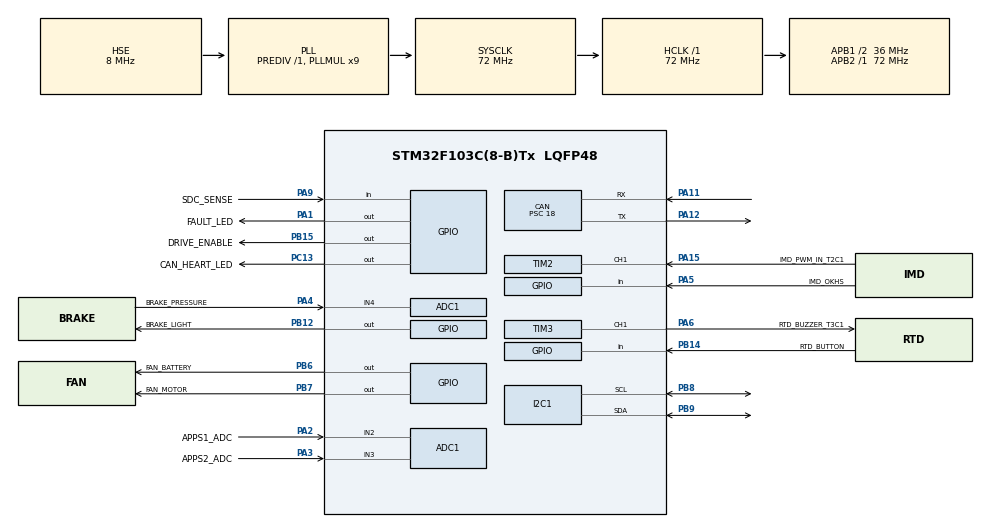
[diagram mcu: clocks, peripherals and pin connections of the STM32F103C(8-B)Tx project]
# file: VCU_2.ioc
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ADC1.Channel-0\#ChannelRegularConversion=ADC_CHANNEL_2
ADC1.Channel-1\#ChannelRegularConversion=ADC_CHANNEL_3
ADC1.Channel-2\#ChannelRegularConversion=ADC_CHANNEL_4
ADC1.ContinuousConvMode=ENABLE
ADC1.NbrOfConversion=3
ADC1.NbrOfConversionFlag=1
ADC1.Rank-0\#ChannelRegularConversion=1
ADC1.Rank-1\#ChannelRegularConversion=2
ADC1.Rank-2\#ChannelRegularConversion=3
ADC1.SamplingTime-0\#ChannelRegularConversion=ADC_SAMPLETIME_55CYCLES_5
ADC1.SamplingTime-1\#ChannelRegularConversion=ADC_SAMPLETIME_55CYCLES_5
ADC1.SamplingTime-2\#ChannelRegularConversion=ADC_SAMPLETIME_55CYCLES_5
ADC1.master=1
CAN.BS1=CAN_BS1_2TQ
CAN.CalculateBaudRate=500000
CAN.CalculateTimeBit=2000
CAN.CalculateTimeQuantum=500.0
CAN.Prescaler=18
CAN.SJW=CAN_SJW_1TQ
Dma.ADC1.1.Direction=DMA_PERIPH_TO_MEMORY
Dma.ADC1.1.Instance=DMA1_Channel1
Dma.ADC1.1.MemDataAlignment=DMA_MDATAALIGN_HALFWORD
Dma.ADC1.1.MemInc=DMA_MINC_ENABLE
Dma.ADC1.1.Mode=DMA_CIRCULAR
Dma.ADC1.1.PeriphDataAlignment=DMA_PDATAALIGN_HALFWORD
Dma.ADC1.1.PeriphInc=DMA_PINC_DISABLE
Dma.ADC1.1.Priority=DMA_PRIORITY_LOW
Dma.I2C1_RX.0.Direction=DMA_PERIPH_TO_MEMORY
Dma.I2C1_RX.0.Instance=DMA1_Channel7
Dma.I2C1_RX.0.MemDataAlignment=DMA_MDATAALIGN_BYTE
Dma.I2C1_RX.0.MemInc=DMA_MINC_ENABLE
Dma.I2C1_RX.0.Mode=DMA_NORMAL
Dma.I2C1_RX.0.PeriphDataAlignment=DMA_PDATAALIGN_BYTE
Dma.I2C1_RX.0.PeriphInc=DMA_PINC_DISABLE
Dma.I2C1_RX.0.Priority=DMA_PRIORITY_MEDIUM
Dma.Request0=I2C1_RX
Dma.Request1=ADC1
I2C1.I2C_Mode=I2C_Fast
Mcu.Family=STM32F1
Mcu.Name=STM32F103C(8-B)Tx
Mcu.Package=LQFP48
NVIC.DMA1_Channel1_IRQn=true\:4\:0\:true\:false\:true\:false\:true\:true
NVIC.DMA1_Channel7_IRQn=true\:5\:0\:true\:false\:true\:false\:true\:true
NVIC.I2C1_ER_IRQn=true\:0\:0\:false\:false\:true\:true\:true\:true
NVIC.I2C1_EV_IRQn=true\:0\:0\:false\:false\:true\:true\:true\:true
NVIC.PriorityGroup=NVIC_PRIORITYGROUP_4
NVIC.TIM1_UP_IRQn=true\:15\:0\:false\:false\:true\:false\:true\:true
NVIC.TIM2_IRQn=true\:6\:0\:true\:false\:true\:true\:true\:true
NVIC.TimeBase=TIM1_UP_IRQn
NVIC.TimeBaseIP=TIM1
NVIC.USB_LP_CAN1_RX0_IRQn=true\:5\:0\:true\:false\:true\:true\:true\:true
PA1.GPIO_Label=FAULT_LED
PA1.Signal=GPIO_Output
PA11.GPIO_PuPd=GPIO_PULLUP
PA11.Mode=CAN_Activate
PA11.Signal=CAN_RX
PA12.Mode=CAN_Activate
PA12.Signal=CAN_TX
PA13.Mode=Serial_Wire
PA13.Signal=SYS_JTMS-SWDIO
PA14.Mode=Serial_Wire
PA14.Signal=SYS_JTCK-SWCLK
PA15.GPIO_Label=IMD_PWM_IN_T2C1
PA15.GPIO_PuPd=GPIO_PULLDOWN
PA15.Signal=S_TIM2_CH1_ETR
PA2.GPIO_Label=APPS1_ADC
PA2.Signal=ADCx_IN2
PA3.GPIO_Label=APPS2_ADC
PA3.Signal=ADCx_IN3
PA4.GPIO_Label=BRAKE_PRESSURE
PA4.Signal=ADCx_IN4
PA5.GPIO_Label=IMD_OKHS
PA5.Signal=GPIO_Input
PA6.GPIO_Label=RTD_BUZZER_T3C1
PA6.Signal=S_TIM3_CH1
PA9.GPIO_Label=SDC_SENSE
PA9.GPIO_PuPd=GPIO_PULLDOWN
PA9.Signal=GPIO_Input
PB12.GPIO_Label=BRAKE_LIGHT
PB12.Signal=GPIO_Output
PB14.GPIO_Label=RTD_BUTTON
PB14.GPIO_PuPd=GPIO_PULLDOWN
PB14.Signal=GPIO_Input
PB15.GPIO_Label=DRIVE_ENABLE
PB15.Signal=GPIO_Output
PB6.GPIO_Label=FAN_BATTERY
PB6.Signal=GPIO_Output
PB7.GPIO_Label=FAN_MOTOR
PB7.Signal=GPIO_Output
PB8.Mode=I2C
PB8.Signal=I2C1_SCL
PB9.Mode=I2C
PB9.Signal=I2C1_SDA
PC13-TAMPER-RTC.GPIO_Label=CAN_HEART_LED
PC13-TAMPER-RTC.Signal=GPIO_Output
PD0-OSC_IN.Mode=HSE-External-Oscillator
PD0-OSC_IN.Signal=RCC_OSC_IN
PD1-OSC_OUT.Mode=HSE-External-Oscillator
PD1-OSC_OUT.Signal=RCC_OSC_OUT
ProjectManager.HeapSize=0x200
ProjectManager.StackSize=0x400
ProjectManager.TargetToolchain=STM32CubeIDE
RCC.ADCPresc=RCC_ADCPCLK2_DIV8
RCC.AHBFreq_Value=72000000
RCC.APB1CLKDivider=RCC_HCLK_DIV2
RCC.APB1Freq_Value=36000000
RCC.APB1TimFreq_Value=72000000
RCC.APB2Freq_Value=72000000
RCC.APB2TimFreq_Value=72000000
RCC.HCLKFreq_Value=72000000
RCC.PLLMUL=RCC_PLL_MUL9
RCC.PLLSourceVirtual=RCC_PLLSOURCE_HSE
RCC.SYSCLKFreq_VALUE=72000000
RCC.SYSCLKSource=RCC_SYSCLKSOURCE_PLLCLK
RCC.USBFreq_Value=72000000
SH.ADCx_IN2.0=ADC1_IN2,IN2
SH.ADCx_IN3.0=ADC1_IN3,IN3
SH.ADCx_IN4.0=ADC1_IN4,IN4
SH.S_TIM2_CH1_ETR.0=TIM2_CH1,TriggerSource_TI1FP1
SH.S_TIM2_CH1_ETR.1=TIM2_CH1,Input_Capture1_from_TI1
SH.S_TIM3_CH1.0=TIM3_CH1,PWM Generation1 CH1
TIM2.Channel-Input_Capture1_from_TI1=TIM_CHANNEL_1
TIM2.Channel-Input_Capture2_from_TI1_63=TIM_CHANNEL_2
TIM2.ICFilter_CH1=8
TIM2.ICPolarity_CH2=TIM_INPUTCHANNELPOLARITY_FALLING
TIM2.Prescaler=143
TIM3.AutoReloadPreload=TIM_AUTORELOAD_PRELOAD_ENABLE
TIM3.Channel-PWM\ Generation1\ CH1=TIM_CHANNEL_1
TIM3.Period=999
TIM3.Prescaler=71
VP_SYS_VS_tim1.Mode=TIM1
VP_TIM2_VS_ClockSourceINT.Mode=Internal
VP_TIM2_VS_ControllerModeReset.Mode=Reset Mode
VP_TIM2_VS_indirect_ch1.Mode=Input_Capture2_from_TI1_63
VP_TIM3_VS_ClockSourceINT.Mode=Internal
board=custom

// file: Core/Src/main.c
/* USER CODE BEGIN Header */
/**
  ******************************************************************************
  * @file           : main.c
  * @brief          : Master file – STM32CubeIDE managed.
  *                   FSUK VCU – FreeRTOS task creation, peripheral init, ISRs.
  *
  *  This file is intentionally minimal. All task implementations live in:
  *    can_dti.c      – DTI HV500 CAN decoder task.
  *    imd_monitor.c  – Bender IMD PWM monitor task.
  *    vcu_safety.c   – APPS safety, brake light, and R2D supervisor tasks.
  *
  *  DO NOT move peripheral init (MX_*) functions out of this file.
  *  STM32CubeIDE re-generates them on every .ioc save; they must stay here.
  ******************************************************************************
  */
/* USER CODE END Header */
#include "main.h"

/* USER CODE BEGIN Includes */
#include "FreeRTOS.h"
#include "task.h"
#include "queue.h"

#include "can_dti.h"      /* CAN_Msg_t, DtiData_t, vCanDecodeTask()          */
#include "imd_monitor.h"  /* ImdDebugStatus_t, IsrBuffer_t, StartPwmTask()   */
#include "vcu_safety.h"   /* VcuSensorData_t, vBrakeLightTask(), vR2DLogicTask() */
/* USER CODE END Includes */

/* USER CODE BEGIN PTD */
/* All typedefs moved to their respective module headers.                     */
/* USER CODE END PTD */

/* USER CODE BEGIN PD */
/* All safety #defines moved to vcu_safety.h.                                */
/* USER CODE END PD */

ADC_HandleTypeDef hadc1;
DMA_HandleTypeDef hdma_adc1;

CAN_HandleTypeDef hcan;

I2C_HandleTypeDef hi2c1;
DMA_HandleTypeDef hdma_i2c1_rx;

TIM_HandleTypeDef htim2;
TIM_HandleTypeDef htim3;

/* USER CODE BEGIN PV */

/* ============================================================================
 * FREERTOS HANDLES
 * All handles declared here (single owner). Modules access them via extern.
 * ========================================================================= */
QueueHandle_t xCanRxQueue     = NULL;  /**< CAN RX FIFO queue (depth 10).    */
TaskHandle_t  xCanTaskHandle  = NULL;  /**< vCanDecodeTask handle.            */
TaskHandle_t  xPwmTaskHandle  = NULL;  /**< StartPwmTask handle (IMD notify). */
TaskHandle_t  xBrakeTaskHandle= NULL;  /**< vBrakeLightTask (I2C DMA notify). */
TaskHandle_t  xR2DTaskHandle  = NULL;  /**< vR2DLogicTask handle.             */

/* ============================================================================
 * ADC DMA BUFFER
 * Scan order matches ADC channel rank configuration in MX_ADC1_Init():
 *   [0] = APPS1      (Rank 1, CH2)
 *   [1] = APPS2      (Rank 2, CH3)
 *   [2] = Brake Pres (Rank 3, CH4)
 * ========================================================================= */
volatile uint16_t adc_dma_buffer[3];

/* USER CODE END PV */

void SystemClock_Config(void);
static void MX_GPIO_Init(void);
static void MX_DMA_Init(void);
static void MX_CAN_Init(void);
static void MX_TIM2_Init(void);
static void MX_I2C1_Init(void);
static void MX_ADC1_Init(void);
static void MX_TIM3_Init(void);
/* USER CODE BEGIN PFP */
/* Task prototypes are declared in their respective headers.                  */
/* USER CODE END PFP */

int main(void)
{

  /* MCU Configuration--------------------------------------------------------*/

  /* Reset of all peripherals, Initializes the Flash interface and the Systick. */
  HAL_Init();

  /* Configure the system clock */
  SystemClock_Config();

  /* Initialize all configured peripherals */
  MX_GPIO_Init();
  MX_DMA_Init();
  MX_CAN_Init();
  MX_TIM2_Init();
  MX_I2C1_Init();
  MX_ADC1_Init();
  MX_TIM3_Init();
  /* USER CODE BEGIN 2 */

  /* ==========================================================================
   * 1. CREATE FREERTOS PRIMITIVES
   * ======================================================================== */

  /* CAN RX queue – depth 10 keeps the ISR from stalling under burst traffic. */
  xCanRxQueue = xQueueCreate(10, sizeof(CAN_Msg_t));
  if (xCanRxQueue == NULL) { Error_Handler(); }

  /* ==========================================================================
   * 2. CREATE FREERTOS TASKS
   *
   *  Priority policy:
   *    3 = Safety-critical real-time (brake light, R2D supervisor).
   *    2 = Monitoring / decoding (CAN, IMD PWM).
   *    1 = Background (telemetry, logging – not yet implemented).
   *
   *  Stack sizes:
   *    512 words for CAN decoder (larger switch-case → more stack usage).
   *    256 words for all others (empirically verified with uxTaskGetStackHighWaterMark).
   * ======================================================================== */

  /* CAN decoder task – drains xCanRxQueue and populates dti_data struct. */
  xTaskCreate(vCanDecodeTask,  "DTI_Dec",    512, NULL, 2, &xCanTaskHandle);

  /*
   * PWM task – xPwmTaskHandle MUST be captured so the TIM2 ISR can notify it.
   * Create BEFORE enabling TIM2 interrupts below.
   */
  xTaskCreate(StartPwmTask,    "PWM_Proc",   256, NULL, 2, &xPwmTaskHandle);

  /*
   * Brake light task – xBrakeTaskHandle MUST be captured so the I2C DMA
   * completion ISR can notify it. Create BEFORE starting ADC DMA below.
   */
  xTaskCreate(vBrakeLightTask, "BrakeLight", 256, NULL, 3, &xBrakeTaskHandle);

  /* R2D supervisor – same priority as brake light (both safety critical). */
  xTaskCreate(vR2DLogicTask,   "R2D_Logic",  256, NULL, 3, &xR2DTaskHandle);

  /* ==========================================================================
   * 3. START HARDWARE
   * ======================================================================== */

  /* CAN peripheral – must be started before enabling RX interrupt. */
  if (HAL_CAN_Start(&hcan) != HAL_OK) { Error_Handler(); }
  if (HAL_CAN_ActivateNotification(&hcan, CAN_IT_RX_FIFO0_MSG_PENDING) != HAL_OK)
  {
    Error_Handler();
  }

  /*
   * TIM2 Input Capture – IMD PWM measurement.
   * Priority 6: below FreeRTOS kernel (5) so task notifications work correctly
   * (configMAX_SYSCALL_INTERRUPT_PRIORITY on STM32 = priority 5).
   */
  HAL_NVIC_SetPriority(TIM2_IRQn, 6, 0);
  HAL_NVIC_EnableIRQ(TIM2_IRQn);
  HAL_TIM_IC_Start_IT(&htim2, TIM_CHANNEL_1);
  HAL_TIM_IC_Start_IT(&htim2, TIM_CHANNEL_2);

  /*
   * TIM3 PWM output – PA6 / CH1 / RTD buzzer.
   * Started here at 0% duty. vR2DLogicTask is the sole controller of
   * the compare register (__HAL_TIM_SET_COMPARE) and auto-reload.
   */
  HAL_TIM_PWM_Start(&htim3, TIM_CHANNEL_1);

  /* MPU-6050 boot initialisation (blocking I2C writes – must be before RTOS). */
  MPU6050_Init();

  /* ADC DMA continuous scan: APPS1, APPS2, brake pressure → adc_dma_buffer. */
  HAL_ADC_Start_DMA(&hadc1, (uint32_t *)adc_dma_buffer, 3);

  /* ==========================================================================
   * 4. START SCHEDULER (never returns)
   * ======================================================================== */
  vTaskStartScheduler();

  /* USER CODE END 2 */

  /* Infinite loop */
  while (1)
  {

  }
}

void SystemClock_Config(void)
{
  RCC_OscInitTypeDef RCC_OscInitStruct = {0};
  RCC_ClkInitTypeDef RCC_ClkInitStruct = {0};
  RCC_PeriphCLKInitTypeDef PeriphClkInit = {0};

  /** Initializes the RCC Oscillators according to the specified parameters
  * in the RCC_OscInitTypeDef structure.
  */
  RCC_OscInitStruct.OscillatorType = RCC_OSCILLATORTYPE_HSE;
  RCC_OscInitStruct.HSEState = RCC_HSE_ON;
  RCC_OscInitStruct.HSEPredivValue = RCC_HSE_PREDIV_DIV1;
  RCC_OscInitStruct.HSIState = RCC_HSI_ON;
  RCC_OscInitStruct.PLL.PLLState = RCC_PLL_ON;
  RCC_OscInitStruct.PLL.PLLSource = RCC_PLLSOURCE_HSE;
  RCC_OscInitStruct.PLL.PLLMUL = RCC_PLL_MUL9;
  if (HAL_RCC_OscConfig(&RCC_OscInitStruct) != HAL_OK)
  {
    Error_Handler();
  }

  /** Initializes the CPU, AHB and APB buses clocks
  */
  RCC_ClkInitStruct.ClockType = RCC_CLOCKTYPE_HCLK|RCC_CLOCKTYPE_SYSCLK
                              |RCC_CLOCKTYPE_PCLK1|RCC_CLOCKTYPE_PCLK2;
  RCC_ClkInitStruct.SYSCLKSource = RCC_SYSCLKSOURCE_PLLCLK;
  RCC_ClkInitStruct.AHBCLKDivider = RCC_SYSCLK_DIV1;
  RCC_ClkInitStruct.APB1CLKDivider = RCC_HCLK_DIV2;
  RCC_ClkInitStruct.APB2CLKDivider = RCC_HCLK_DIV1;

  if (HAL_RCC_ClockConfig(&RCC_ClkInitStruct, FLASH_LATENCY_2) != HAL_OK)
  {
    Error_Handler();
  }
  PeriphClkInit.PeriphClockSelection = RCC_PERIPHCLK_ADC;
  PeriphClkInit.AdcClockSelection = RCC_ADCPCLK2_DIV8;
  if (HAL_RCCEx_PeriphCLKConfig(&PeriphClkInit) != HAL_OK)
  {
    Error_Handler();
  }
}

static void MX_ADC1_Init(void)
{

  ADC_ChannelConfTypeDef sConfig = {0};

  /** Common config
  */
  hadc1.Instance = ADC1;
  hadc1.Init.ScanConvMode = ADC_SCAN_ENABLE;
  hadc1.Init.ContinuousConvMode = ENABLE;
  hadc1.Init.DiscontinuousConvMode = DISABLE;
  hadc1.Init.ExternalTrigConv = ADC_SOFTWARE_START;
  hadc1.Init.DataAlign = ADC_DATAALIGN_RIGHT;
  hadc1.Init.NbrOfConversion = 3;
  if (HAL_ADC_Init(&hadc1) != HAL_OK)
  {
    Error_Handler();
  }

  /** Configure Regular Channel
  */
  sConfig.Channel = ADC_CHANNEL_2;
  sConfig.Rank = ADC_REGULAR_RANK_1;
  sConfig.SamplingTime = ADC_SAMPLETIME_55CYCLES_5;
  if (HAL_ADC_ConfigChannel(&hadc1, &sConfig) != HAL_OK)
  {
    Error_Handler();
  }

  /** Configure Regular Channel
  */
  sConfig.Channel = ADC_CHANNEL_3;
  sConfig.Rank = ADC_REGULAR_RANK_2;
  if (HAL_ADC_ConfigChannel(&hadc1, &sConfig) != HAL_OK)
  {
    Error_Handler();
  }

  /** Configure Regular Channel
  */
  sConfig.Channel = ADC_CHANNEL_4;
  sConfig.Rank = ADC_REGULAR_RANK_3;
  if (HAL_ADC_ConfigChannel(&hadc1, &sConfig) != HAL_OK)
  {
    Error_Handler();
  }

}

static void MX_CAN_Init(void)
{

  hcan.Instance = CAN1;
  hcan.Init.Prescaler = 18;
  hcan.Init.Mode = CAN_MODE_NORMAL;
  hcan.Init.SyncJumpWidth = CAN_SJW_1TQ;
  hcan.Init.TimeSeg1 = CAN_BS1_2TQ;
  hcan.Init.TimeSeg2 = CAN_BS2_1TQ;
  hcan.Init.TimeTriggeredMode = DISABLE;
  hcan.Init.AutoBusOff = DISABLE;
  hcan.Init.AutoWakeUp = DISABLE;
  hcan.Init.AutoRetransmission = DISABLE;
  hcan.Init.ReceiveFifoLocked = DISABLE;
  hcan.Init.TransmitFifoPriority = DISABLE;
  if (HAL_CAN_Init(&hcan) != HAL_OK)
  {
    Error_Handler();
  }
  /* USER CODE BEGIN CAN_Init 2 */
  /* Pass-all filter: mask = 0, ID = 0 → all IDs accepted into FIFO0. */
  CAN_FilterTypeDef canfilterconfig;
  canfilterconfig.FilterActivation     = CAN_FILTER_ENABLE;
  canfilterconfig.FilterBank           = 0;
  canfilterconfig.FilterFIFOAssignment = CAN_FILTER_FIFO0;
  canfilterconfig.FilterIdHigh         = 0;
  canfilterconfig.FilterIdLow          = 0;
  canfilterconfig.FilterMaskIdHigh     = 0;
  canfilterconfig.FilterMaskIdLow      = 0;
  canfilterconfig.FilterMode           = CAN_FILTERMODE_IDMASK;
  canfilterconfig.FilterScale          = CAN_FILTERSCALE_32BIT;
  if (HAL_CAN_ConfigFilter(&hcan, &canfilterconfig) != HAL_OK) { Error_Handler(); }

  HAL_NVIC_SetPriority(USB_LP_CAN1_RX0_IRQn, 5, 0);
  HAL_NVIC_EnableIRQ(USB_LP_CAN1_RX0_IRQn);
  /* USER CODE END CAN_Init 2 */

}

static void MX_I2C1_Init(void)
{

  hi2c1.Instance = I2C1;
  hi2c1.Init.ClockSpeed = 400000;
  hi2c1.Init.DutyCycle = I2C_DUTYCYCLE_2;
  hi2c1.Init.OwnAddress1 = 0;
  hi2c1.Init.AddressingMode = I2C_ADDRESSINGMODE_7BIT;
  hi2c1.Init.DualAddressMode = I2C_DUALADDRESS_DISABLE;
  hi2c1.Init.OwnAddress2 = 0;
  hi2c1.Init.GeneralCallMode = I2C_GENERALCALL_DISABLE;
  hi2c1.Init.NoStretchMode = I2C_NOSTRETCH_DISABLE;
  if (HAL_I2C_Init(&hi2c1) != HAL_OK)
  {
    Error_Handler();
  }

}

static void MX_TIM2_Init(void)
{

  TIM_ClockConfigTypeDef sClockSourceConfig = {0};
  TIM_SlaveConfigTypeDef sSlaveConfig = {0};
  TIM_MasterConfigTypeDef sMasterConfig = {0};
  TIM_IC_InitTypeDef sConfigIC = {0};

  htim2.Instance = TIM2;
  htim2.Init.Prescaler = 143;
  htim2.Init.CounterMode = TIM_COUNTERMODE_UP;
  htim2.Init.Period = 65535;
  htim2.Init.ClockDivision = TIM_CLOCKDIVISION_DIV1;
  htim2.Init.AutoReloadPreload = TIM_AUTORELOAD_PRELOAD_DISABLE;
  if (HAL_TIM_Base_Init(&htim2) != HAL_OK)
  {
    Error_Handler();
  }
  sClockSourceConfig.ClockSource = TIM_CLOCKSOURCE_INTERNAL;
  if (HAL_TIM_ConfigClockSource(&htim2, &sClockSourceConfig) != HAL_OK)
  {
    Error_Handler();
  }
  if (HAL_TIM_IC_Init(&htim2) != HAL_OK)
  {
    Error_Handler();
  }
  sSlaveConfig.SlaveMode = TIM_SLAVEMODE_RESET;
  sSlaveConfig.InputTrigger = TIM_TS_TI1FP1;
  sSlaveConfig.TriggerPolarity = TIM_INPUTCHANNELPOLARITY_RISING;
  sSlaveConfig.TriggerFilter = 0;
  if (HAL_TIM_SlaveConfigSynchro(&htim2, &sSlaveConfig) != HAL_OK)
  {
    Error_Handler();
  }
  sMasterConfig.MasterOutputTrigger = TIM_TRGO_RESET;
  sMasterConfig.MasterSlaveMode = TIM_MASTERSLAVEMODE_DISABLE;
  if (HAL_TIMEx_MasterConfigSynchronization(&htim2, &sMasterConfig) != HAL_OK)
  {
    Error_Handler();
  }
  sConfigIC.ICPolarity = TIM_INPUTCHANNELPOLARITY_RISING;
  sConfigIC.ICSelection = TIM_ICSELECTION_DIRECTTI;
  sConfigIC.ICPrescaler = TIM_ICPSC_DIV1;
  sConfigIC.ICFilter = 8;
  if (HAL_TIM_IC_ConfigChannel(&htim2, &sConfigIC, TIM_CHANNEL_1) != HAL_OK)
  {
    Error_Handler();
  }
  sConfigIC.ICPolarity = TIM_INPUTCHANNELPOLARITY_FALLING;
  sConfigIC.ICSelection = TIM_ICSELECTION_INDIRECTTI;
  sConfigIC.ICFilter = 0;
  if (HAL_TIM_IC_ConfigChannel(&htim2, &sConfigIC, TIM_CHANNEL_2) != HAL_OK)
  {
    Error_Handler();
  }

}

static void MX_TIM3_Init(void)
{

  TIM_ClockConfigTypeDef sClockSourceConfig = {0};
  TIM_MasterConfigTypeDef sMasterConfig = {0};
  TIM_OC_InitTypeDef sConfigOC = {0};

  htim3.Instance = TIM3;
  htim3.Init.Prescaler = 71;
  htim3.Init.CounterMode = TIM_COUNTERMODE_UP;
  htim3.Init.Period = 999;
  htim3.Init.ClockDivision = TIM_CLOCKDIVISION_DIV1;
  htim3.Init.AutoReloadPreload = TIM_AUTORELOAD_PRELOAD_ENABLE;
  if (HAL_TIM_Base_Init(&htim3) != HAL_OK)
  {
    Error_Handler();
  }
  sClockSourceConfig.ClockSource = TIM_CLOCKSOURCE_INTERNAL;
  if (HAL_TIM_ConfigClockSource(&htim3, &sClockSourceConfig) != HAL_OK)
  {
    Error_Handler();
  }
  if (HAL_TIM_PWM_Init(&htim3) != HAL_OK)
  {
    Error_Handler();
  }
  sMasterConfig.MasterOutputTrigger = TIM_TRGO_RESET;
  sMasterConfig.MasterSlaveMode = TIM_MASTERSLAVEMODE_DISABLE;
  if (HAL_TIMEx_MasterConfigSynchronization(&htim3, &sMasterConfig) != HAL_OK)
  {
    Error_Handler();
  }
  sConfigOC.OCMode = TIM_OCMODE_PWM1;
  sConfigOC.Pulse = 0;
  sConfigOC.OCPolarity = TIM_OCPOLARITY_HIGH;
  sConfigOC.OCFastMode = TIM_OCFAST_DISABLE;
  if (HAL_TIM_PWM_ConfigChannel(&htim3, &sConfigOC, TIM_CHANNEL_1) != HAL_OK)
  {
    Error_Handler();
  }
  HAL_TIM_MspPostInit(&htim3);

}

static void MX_DMA_Init(void)
{

  /* DMA controller clock enable */
  __HAL_RCC_DMA1_CLK_ENABLE();

  /* DMA interrupt init */
  /* DMA1_Channel1_IRQn interrupt configuration */
  HAL_NVIC_SetPriority(DMA1_Channel1_IRQn, 4, 0);
  HAL_NVIC_EnableIRQ(DMA1_Channel1_IRQn);
  /* DMA1_Channel7_IRQn interrupt configuration */
  HAL_NVIC_SetPriority(DMA1_Channel7_IRQn, 5, 0);
  HAL_NVIC_EnableIRQ(DMA1_Channel7_IRQn);

}

static void MX_GPIO_Init(void)
{
  GPIO_InitTypeDef GPIO_InitStruct = {0};

  /* GPIO Ports Clock Enable */
  __HAL_RCC_GPIOC_CLK_ENABLE();
  __HAL_RCC_GPIOD_CLK_ENABLE();
  __HAL_RCC_GPIOA_CLK_ENABLE();
  __HAL_RCC_GPIOB_CLK_ENABLE();

  /*Configure GPIO pin Output Level */
  HAL_GPIO_WritePin(CAN_HEART_LED_GPIO_Port, CAN_HEART_LED_Pin, GPIO_PIN_RESET);

  /*Configure GPIO pin Output Level */
  HAL_GPIO_WritePin(FAULT_LED_GPIO_Port, FAULT_LED_Pin, GPIO_PIN_RESET);

  /*Configure GPIO pin Output Level */
  HAL_GPIO_WritePin(GPIOB, BRAKE_LIGHT_Pin|DRIVE_ENABLE_Pin|FAN_BATTERY_Pin|FAN_MOTOR_Pin, GPIO_PIN_RESET);

  /*Configure GPIO pin : CAN_HEART_LED_Pin */
  GPIO_InitStruct.Pin = CAN_HEART_LED_Pin;
  GPIO_InitStruct.Mode = GPIO_MODE_OUTPUT_PP;
  GPIO_InitStruct.Pull = GPIO_NOPULL;
  GPIO_InitStruct.Speed = GPIO_SPEED_FREQ_LOW;
  HAL_GPIO_Init(CAN_HEART_LED_GPIO_Port, &GPIO_InitStruct);

  /*Configure GPIO pin : FAULT_LED_Pin */
  GPIO_InitStruct.Pin = FAULT_LED_Pin;
  GPIO_InitStruct.Mode = GPIO_MODE_OUTPUT_PP;
  GPIO_InitStruct.Pull = GPIO_NOPULL;
  GPIO_InitStruct.Speed = GPIO_SPEED_FREQ_LOW;
  HAL_GPIO_Init(FAULT_LED_GPIO_Port, &GPIO_InitStruct);

  /*Configure GPIO pin : IMD_OKHS_Pin */
  GPIO_InitStruct.Pin = IMD_OKHS_Pin;
  GPIO_InitStruct.Mode = GPIO_MODE_INPUT;
  GPIO_InitStruct.Pull = GPIO_NOPULL;
  HAL_GPIO_Init(IMD_OKHS_GPIO_Port, &GPIO_InitStruct);

  /*Configure GPIO pins : BRAKE_LIGHT_Pin DRIVE_ENABLE_Pin FAN_BATTERY_Pin FAN_MOTOR_Pin */
  GPIO_InitStruct.Pin = BRAKE_LIGHT_Pin|DRIVE_ENABLE_Pin|FAN_BATTERY_Pin|FAN_MOTOR_Pin;
  GPIO_InitStruct.Mode = GPIO_MODE_OUTPUT_PP;
  GPIO_InitStruct.Pull = GPIO_NOPULL;
  GPIO_InitStruct.Speed = GPIO_SPEED_FREQ_LOW;
  HAL_GPIO_Init(GPIOB, &GPIO_InitStruct);

  /*Configure GPIO pin : RTD_BUTTON_Pin */
  GPIO_InitStruct.Pin = RTD_BUTTON_Pin;
  GPIO_InitStruct.Mode = GPIO_MODE_INPUT;
  GPIO_InitStruct.Pull = GPIO_PULLDOWN;
  HAL_GPIO_Init(RTD_BUTTON_GPIO_Port, &GPIO_InitStruct);

  /*Configure GPIO pin : SDC_SENSE_Pin */
  GPIO_InitStruct.Pin = SDC_SENSE_Pin;
  GPIO_InitStruct.Mode = GPIO_MODE_INPUT;
  GPIO_InitStruct.Pull = GPIO_PULLDOWN;
  HAL_GPIO_Init(SDC_SENSE_GPIO_Port, &GPIO_InitStruct);

}

/* USER CODE BEGIN 4 */
/* ============================================================================
 * HARDWARE INTERRUPT CALLBACKS
 *
 * These callbacks are called from within HAL ISR handlers. They run at
 * interrupt priority and must be kept short. Their only job is to pass data
 * to FreeRTOS primitives and yield if a higher-priority task was woken.
 *
 * They live in main.c (not in module .c files) because:
 *   a) HAL weak-symbol overrides must exist in exactly one translation unit.
 *   b) They reference multiple module globals (xCanRxQueue, xPwmTaskHandle,
 *      xBrakeTaskHandle) which are all owned here.
 * ========================================================================= */

/**
 * @brief  CAN RX FIFO0 message pending callback.
 *
 * Called by USB_LP_CAN1_RX0_IRQHandler → HAL_CAN_IRQHandler whenever a new
 * frame arrives in FIFO0. Reads the frame and enqueues it for vCanDecodeTask.
 *
 * xQueueSendFromISR + portYIELD_FROM_ISR ensures that if vCanDecodeTask is
 * higher priority than the currently running task, a context switch happens
 * immediately on ISR exit rather than waiting for the next tick.
 */
void HAL_CAN_RxFifo0MsgPendingCallback(CAN_HandleTypeDef *hcan_local)
{
    CAN_RxHeaderTypeDef RxHeader;
    CAN_Msg_t msg;
    BaseType_t xHigherPriorityTaskWoken = pdFALSE;

    if (HAL_CAN_GetRxMessage(hcan_local, CAN_RX_FIFO0, &RxHeader, msg.Data) == HAL_OK)
    {
        msg.StdId = RxHeader.StdId;
        xQueueSendFromISR(xCanRxQueue, &msg, &xHigherPriorityTaskWoken);
        portYIELD_FROM_ISR(xHigherPriorityTaskWoken);
    }
}

/**
 * @brief  TIM input capture callback – TIM2 PWM period/pulse measurement.
 *
 * Called when TIM2 CH1 captures a rising edge (slave-reset fires).
 * At this point CCR1 holds the full period and CCR2 holds the pulse width
 * (both updated atomically by hardware before the interrupt fires).
 *
 * Notifies StartPwmTask via direct-to-task notification (binary semaphore
 * behaviour: one notification per capture pair, task processes one at a time).
 */
void HAL_TIM_IC_CaptureCallback(TIM_HandleTypeDef *htim)
{
    if (htim->Instance == TIM2 && htim->Channel == HAL_TIM_ACTIVE_CHANNEL_1)
    {
        /* Snapshot CCR registers – written atomically by TIM2 hardware. */
        isr_buffer.period = TIM2->CCR1;
        isr_buffer.pulse  = TIM2->CCR2;

        BaseType_t xHigherPriorityTaskWoken = pdFALSE;
        vTaskNotifyGiveFromISR(xPwmTaskHandle, &xHigherPriorityTaskWoken);
        portYIELD_FROM_ISR(xHigherPriorityTaskWoken);
    }
}

/**
 * @brief  I2C memory read DMA completion callback – MPU-6050 data ready.
 *
 * Called by DMA1_Channel7_IRQHandler → HAL_DMA_IRQHandler when the 14-byte
 * accelerometer read initiated by vBrakeLightTask completes.
 *
 * Notifies vBrakeLightTask, which then processes the data and re-arms the
 * next DMA transfer at the end of its 10 ms loop iteration.
 */
void HAL_I2C_MemRxCpltCallback(I2C_HandleTypeDef *hi2c_local)
{
    if (hi2c_local->Instance == I2C1)
    {
        BaseType_t xHigherPriorityTaskWoken = pdFALSE;
        vTaskNotifyGiveFromISR(xBrakeTaskHandle, &xHigherPriorityTaskWoken);
        portYIELD_FROM_ISR(xHigherPriorityTaskWoken);
    }
}

/* USER CODE END 4 */

void HAL_TIM_PeriodElapsedCallback(TIM_HandleTypeDef *htim)
{
  if (htim->Instance == TIM1) {
    HAL_IncTick();
  }
}

void Error_Handler(void)
{
  __disable_irq();
  while (1) {}
}

#ifdef  USE_FULL_ASSERT
/**
  * @brief  Reports the name of the source file and the source line number
  *         where the assert_param error has occurred.
  * @param  file: pointer to the source file name
  * @param  line: assert_param error line source number
  * @retval None
  */
void assert_failed(uint8_t *file, uint32_t line)
{
  /* USER CODE BEGIN 6 */
  (void)file;
  (void)line;
  /* USER CODE END 6 */
}
#endif /* USE_FULL_ASSERT */
